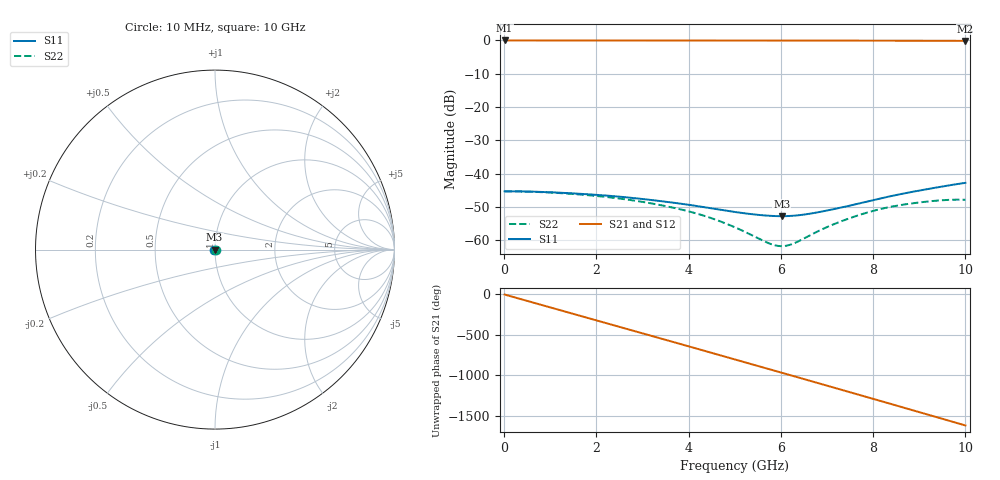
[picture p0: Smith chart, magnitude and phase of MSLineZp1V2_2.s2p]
! TOUCHSTONE file generated by CST MICROWAVE STUDIO
! Date and time: Thu Feb 20 01:01:02 2025
! Project name: MSLineZp1.cst
! Parameters = {Zp1=30; Zp2=50; C=0; L=100; Lamb=0.05; Li=0; R=1e-13; W=20; dlump=2; er=2; h=0.8; w1=2.62}
! Header version: 2024
! Port assignment regex: !\s*Touchstone port\s*([0-9]+)\s*=\s*(CST MWS port|CST DES external port|CST DES block port)\s*(.+)\s* \(\"(.*)\"\)(\s*mode\s*([0-9]+))?.*
! Touchstone port assignment:
! Touchstone port 1 = CST MWS port 1 ("")
! Touchstone port 2 = CST MWS port 2 ("")
# GHz S MA R 50
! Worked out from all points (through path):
!   1000 points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, 10 MHz to 10 GHz, reference 50 ohm
!   highest |S21| = 0.00 dB at 10 MHz (marker M1); lowest = -0.1 dB at 10 GHz (marker M2)
!   group delay of S21, straight-line fit = 449 ps
!   lowest |S11| = -52.8 dB at 6.02 GHz (marker M3), VSWR 1.00, Z = 49.8 - j0.0457 ohm
!   |S11| at or under -10 dB: start of sweep to end of sweep
!   |S22| runs from -61.8 to -45.3 dB; largest |S21 - S12| = 1.7e-06
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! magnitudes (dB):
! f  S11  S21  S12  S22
! 10 MHz  -45.3  0.0  0.0  -45.3
! 820 MHz  -45.5  0.0  0.0  -45.6
! 1.68 GHz  -46.1  0.0  0.0  -46.3
! 2.53 GHz  -47.0  0.0  0.0  -47.5
! 3.34 GHz  -48.2  0.0  0.0  -49.3
! 3.82 GHz  -49.0  0.0  0.0  -50.7
! 4.23 GHz  -49.9  0.0  0.0  -52.2
! 4.62 GHz  -50.7  0.0  0.0  -54.0
! 5.01 GHz  -51.5  0.0  0.0  -56.2
! 5.74 GHz  -52.7  0.0  0.0  -60.9
! 5.89 GHz  -52.8  0.0  0.0  -61.6
! 6.02 GHz  -52.8  0.0  0.0  -61.8
! 6.14 GHz  -52.8  0.0  0.0  -61.6
! 6.26 GHz  -52.7  0.0  0.0  -61.1
! 6.67 GHz  -52.0  0.0  0.0  -58.3
! 7.05 GHz  -51.0  0.0  0.0  -55.8
! 7.48 GHz  -49.7  0.0  0.0  -53.5
! 7.93 GHz  -48.2  -0.1  -0.1  -51.5
! 8.34 GHz  -46.9  -0.1  -0.1  -50.1
! 9.26 GHz  -44.5  -0.1  -0.1  -48.3
! 9.65 GHz  -43.5  -0.1  -0.1  -47.9
! 10 GHz  -42.8  -0.1  -0.1  -47.9
